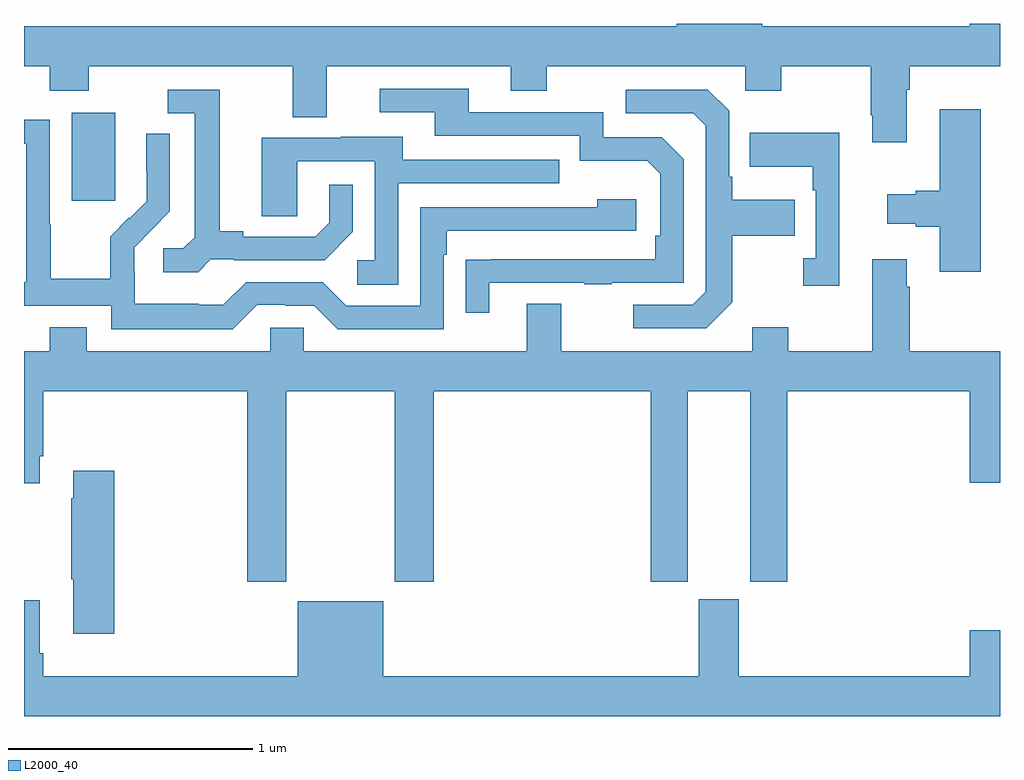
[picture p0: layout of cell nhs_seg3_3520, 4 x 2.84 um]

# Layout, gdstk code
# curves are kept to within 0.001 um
import gdstk
lib = gdstk.Library(unit=1e-6, precision=1e-09)
def R(c, l, rs):  # rectangles x0, y0, x1, y1
    for r in rs: c.add(gdstk.rectangle(r[:2], r[2:], *l))
def P(c, l, *ps):  # polygons
    for p in ps: c.add(gdstk.Polygon(p, *l))
L2000_40 = (2000, 40)

nhs_seg3_3520 = lib.new_cell('nhs_seg3_3520')
R(nhs_seg3_3520, L2000_40, [(293.195,725.673,293.374,726.034)])
P(nhs_seg3_3520, L2000_40, [(297,726.4),(296.876,726.4),(296.876,726.388),(296.026,726.388),(296.026,726.4),(295.676,726.4),(295.676,726.388),(293,726.388),(293,726.224),(293.105,726.224),(293.105,726.125),(293.265,726.125),(293.265,726.224),(294.101,726.224),(294.101,726.016),(294.241,726.016),(294.241,726.224),(294.995,726.224),(294.995,726.125),(295.143,726.125),(295.143,726.224),(295.956,726.224),(295.956,726.125),(296.103,726.125),(296.103,726.224),(296.47,726.224),(296.47,726.025),(296.477,726.025),(296.477,725.913),(296.617,725.913),(296.617,726.128),(296.63,726.128),(296.63,726.224),(297,726.224)],
  [(294.907,725.337),(295.297,725.337),(295.297,725.332),(295.409,725.332),(295.409,725.337),(295.704,725.337),(295.704,725.844),(295.614,725.934),(295.374,725.934),(295.374,726.036),(294.823,726.036),(294.823,726.132),(294.459,726.132),(294.459,726.036),(294.683,726.036),(294.683,725.94),(295.278,725.94),(295.278,725.837),(295.555,725.837),(295.608,725.784),(295.608,725.53),(295.588,725.53),(295.588,725.433),(294.811,725.432),(294.811,725.214),(294.907,725.214)],
  [(293.766,725.433),(293.86,725.433),(293.86,725.43),(294.232,725.43),(294.348,725.546),(294.348,725.74),(294.251,725.74),(294.251,725.583),(294.194,725.526),(293.899,725.526),(293.899,725.549),(293.803,725.549),(293.803,726.129),(293.589,726.129),(293.589,726.033),(293.699,726.033),(293.699,725.525),(293.652,725.478),(293.571,725.478),(293.571,725.381),(293.714,725.381)],
  [(295.903,725.257),(295.903,725.53),(296.159,725.53),(296.159,725.677),(295.903,725.677),(295.903,725.773),(295.89,725.773),(295.89,726.042),(295.803,726.129),(295.467,726.129),(295.467,726.033),(295.743,726.033),(295.794,725.982),(295.794,725.301),(295.74,725.247),(295.497,725.247),(295.497,725.151),(295.797,725.151)],
  [(296.921,726.049),(296.753,726.049),(296.753,725.714),(296.654,725.714),(296.654,725.701),(296.538,725.701),(296.538,725.579),(296.654,725.579),(296.654,725.567),(296.753,725.567),(296.753,725.382),(296.921,725.382)],
  [(293.955,725.247),(294.071,725.247),(294.071,725.244),(294.189,725.244),(294.285,725.148),(294.72,725.148),(294.72,725.453),(294.733,725.453),(294.733,725.55),(295.51,725.55),(295.51,725.68),(295.349,725.68),(295.349,725.646),(294.624,725.646),(294.624,725.244),(294.321,725.244),(294.225,725.34),(293.91,725.34),(293.817,725.247),(293.717,725.247),(293.717,725.251),(293.454,725.251),(293.454,725.385),(293.452,725.385),(293.452,725.482),(293.598,725.63),(293.598,725.948),(293.502,725.948),(293.502,725.794),(293.504,725.794),(293.504,725.672),(293.433,725.601),(293.43,725.604),(293.353,725.527),(293.353,725.353),(293.109,725.353),(293.109,725.576),(293.106,725.576),(293.106,726.006),(293,726.006),(293,725.907),(293.01,725.907),(293.01,725.34),(293,725.34),(293,725.244),(293.358,725.244),(293.358,725.147),(293.855,725.147)],
  [(296.342,725.953),(295.975,725.953),(295.975,725.813),(296.232,725.813),(296.232,725.717),(296.244,725.717),(296.244,725.438),(296.193,725.438),(296.193,725.325),(296.342,725.325)],
  [(294.534,725.745),(295.193,725.745),(295.193,725.841),(294.553,725.841),(294.553,725.935),(294.299,725.935),(294.299,725.931),(293.975,725.931),(293.975,725.611),(294.12,725.611),(294.12,725.835),(294.438,725.835),(294.438,725.43),(294.366,725.43),(294.366,725.329),(294.534,725.329)],
  [(296.876,724.518),(297,724.518),(297,725.056),(296.63,725.056),(296.63,725.321),(296.617,725.321),(296.617,725.434),(296.477,725.434),(296.477,725.056),(296.133,725.056),(296.133,725.155),(295.985,725.155),(295.985,725.056),(295.201,725.056),(295.201,725.251),(295.061,725.251),(295.061,725.056),(294.147,725.056),(294.147,725.154),(294.009,725.154),(294.009,725.056),(293.257,725.056),(293.257,725.155),(293.105,725.155),(293.105,725.056),(293,725.056),(293,724.515),(293.065,724.515),(293.065,724.627),(293.078,724.627),(293.078,724.892),(293.915,724.892),(293.915,724.113),(294.075,724.113),(294.075,724.892),(294.52,724.892),(294.52,724.113),(294.68,724.113),(294.68,724.892),(295.568,724.892),(295.568,724.113),(295.72,724.113),(295.72,724.892),(295.976,724.892),(295.976,724.113),(296.129,724.113),(296.129,724.892),(296.876,724.892)],
  [(293.369,724.567),(293.201,724.567),(293.201,724.454),(293.194,724.454),(293.194,724.123),(293.201,724.123),(293.201,723.9),(293.369,723.9)],
  [(297,723.913),(296.876,723.913),(296.876,723.724),(295.93,723.724),(295.93,724.041),(295.766,724.041),(295.766,723.724),(294.472,723.724),(294.472,724.033),(294.122,724.033),(294.122,723.724),(293.078,723.724),(293.078,723.82),(293.065,723.82),(293.065,724.036),(293,724.036),(293,723.56),(297,723.56)])

lib.write_gds('nhs_seg3_3520.gds')
